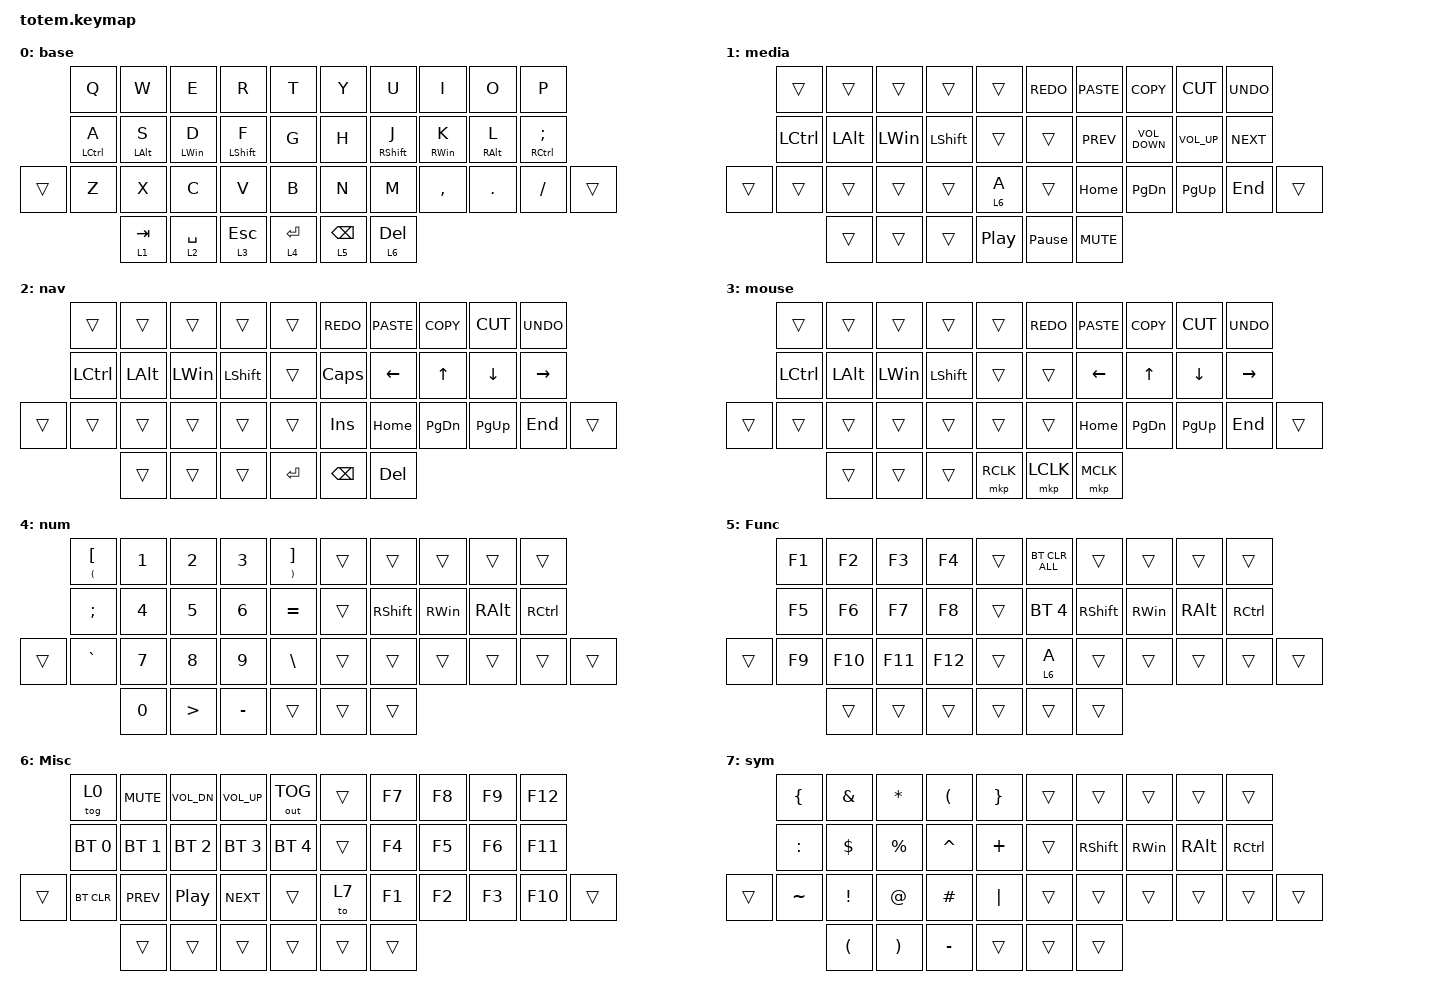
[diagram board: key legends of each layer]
//
//                                                        ▀▀▀▀▀     ▀▀▀▀▀          ▀▀█▀▀
//                                                        ▄▀▀▀▄  ▄  ▄▀▀▀▄  ▄  ▄▀▀▀▄  █  ▄▀▀▀▄
//                                                        █   █  █  █   █  █  █   █  █  █   █
//                                                         ▀▀▀   █   ▀▀▀   █   ▀▀▀   ▀   ▀▀▀
//                                                               █      ▄▄▄█▄▄▄    █   █  
//                                                               ▀      █  █  █     █▄█
//                                                             ▀▀▀▀▀    █  █  █      ▀
//                                                                      ▀  ▀  ▀
//
// ▄▄▄▄▄▄▄▄▄▄▄▄▄▄▄▄▄▄▄▄▄▄▄▄▄▄▄▄▄▄▄▄▄▄▄▄▄▄▄▄▄▄▄▄▄▄▄▄▄▄▄▄▄▄▄▄▄▄▄▄▄▄▄▄▄▄▄▄▄▄▄▄▄▄▄▄▄▄▄▄▄▄▄▄▄▄▄▄▄▄▄▄▄▄▄▄▄▄▄▄▄▄▄▄▄▄▄▄▄▄▄▄▄▄▄▄▄▄▄▄▄▄▄▄▄▄▄▄▄▄▄▄▄▄▄▄▄▄▄▄▄▄▄▄▄▄▄▄▄

/*
 * Copyright (c) 2020 The ZMK Contributors
 *
 * SPDX-License-Identifier: MIT
 */

#include <dt-bindings/zmk/mouse.h>
#include <behaviors.dtsi>
#include <dt-bindings/zmk/bt.h>
#include <dt-bindings/zmk/keys.h>
#include <dt-bindings/zmk/outputs.h>
#include <dt-bindings/zmk/pointing.h>

#define DEFAULT 0
#define QWERTY 1
#define NUM 2
#define NAV 3
#define FUN 4

/ {
    conditional_layers {
        compatible = "zmk,conditional-layers";

        tri_layer {
            if-layers = <6 6>;
            then-layer = <6>;
        };
    };

    behaviors {
        bspc_del: backspace_delete {
            compatible = "zmk,behavior-mod-morph";
            #binding-cells = <0>;
            bindings = <&kp BACKSPACE>, <&kp DELETE>;

            mods = <(MOD_LSFT|MOD_RSFT)>;
            keep-mods = <(MOD_RSFT)>;
        };

        super_bspc: super_backspace {
            compatible = "zmk,behavior-mod-morph";
            #binding-cells = <0>;
            bindings = <&kp BACKSPACE>, <&kp LA(BACKSPACE)>;

            mods = <(MOD_LSFT|MOD_RSFT)>;
        };

        smart_shft: smart_shift {
            compatible = "zmk,behavior-mod-morph";
            #binding-cells = <0>;
            bindings = <&kp LSHFT>, <&caps_word>;

            mods = <(MOD_LSFT)>;
        };

        comma_semi: comma_semi {
            compatible = "zmk,behavior-mod-morph";
            #binding-cells = <0>;
            bindings = <&kp COMMA>, <&kp SEMI>;

            mods = <(MOD_LSFT)>;
        };

        dot_colon: dot_colon {
            compatible = "zmk,behavior-mod-morph";
            #binding-cells = <0>;
            bindings = <&kp DOT>, <&kp COLON>;

            mods = <(MOD_LSFT)>;
        };

        qmrk_excl: qmrk_excl {
            compatible = "zmk,behavior-mod-morph";
            #binding-cells = <0>;
            bindings = <&kp QMARK>, <&kp EXCL>;

            mods = <(MOD_LSFT)>;
        };

        slh_morph: slh_morph {
            compatible = "zmk,behavior-mod-morph";
            #binding-cells = <0>;
            bindings = <&kp FSLH>, <&kp BSLH>;

            mods = <(MOD_LSFT)>;
        };

        amps_morph: amps_morph {
            compatible = "zmk,behavior-mod-morph";
            #binding-cells = <0>;
            bindings = <&kp AMPS>, <&kp PIPE>;

            mods = <(MOD_LSFT)>;
        };

        lhmr: lhmr {
            compatible = "zmk,behavior-hold-tap";
            label = "LHMR";
            bindings = <&kp>, <&kp>;

            #binding-cells = <2>;
            flavor = "balanced";
            tapping-term-ms = <280>;
            quick-tap-ms = <175>;
            require-prior-idle-ms = <150>;
            hold-trigger-key-positions = <5 6 6 7 8 16 17 18 26 27 28 5 6 7 8 9 15 16 17 18 19 25 26 27 28 29>;
            hold-trigger-on-release;
        };

        rhmr: rhmr {
            compatible = "zmk,behavior-hold-tap";
            label = "RHMR";
            bindings = <&kp>, <&kp>;

            #binding-cells = <2>;
            tapping-term-ms = <280>;
            quick-tap-ms = <175>;
            require-prior-idle-ms = <150>;
            flavor = "balanced";
            hold-trigger-key-positions = <4 0 1 2 3 4 10 11 12 13 14 20 21 22 23 24>;
            hold-trigger-on-release;
        };
    };

    macros {
        closetab: closetab {
            compatible = "zmk,behavior-macro";
            #binding-cells = <0>;
            bindings = <&kp LEFT_ALT &kp F4>;
            label = "CLOSETAB";
        };
    };

    keymap {
        compatible = "zmk,keymap";

        base {
            bindings = <
                &kp Q                 &kp W             &kp E             &kp R          &kp T         &kp Y        &kp U                &kp I              &kp O              &kp P
                &lhmr LEFT_CONTROL A  &lhmr LEFT_ALT S  &lhmr LEFT_WIN D  &lhmr LSHFT F  &kp G         &kp H        &rhmr RIGHT_SHIFT J  &rhmr RIGHT_WIN K  &rhmr RIGHT_ALT L  &rhmr RCTRL SEMICOLON
&trans          &kp Z                 &kp X             &kp C             &kp V          &kp B         &kp N        &kp M                &kp COMMA          &kp DOT            &kp FSLH        &trans
                                        &lt 1 TAB         &lt 2 SPACE    &lt 3 ESCAPE  &lt 4 ENTER  &lt 5 BACKSPACE      &lt 6 DELETE
            >;
        };

        media {
            bindings = <
                &trans     &trans        &trans        &trans          &trans   &kp K_REDO        &kp K_PASTE      &kp K_COPY         &kp K_CUT        &kp K_UNDO
                &kp LCTRL  &kp LEFT_ALT  &kp LEFT_WIN  &kp LEFT_SHIFT  &trans   &trans            &kp K_PREV       &kp K_VOLUME_DOWN  &kp K_VOLUME_UP  &kp K_NEXT
 &trans         &trans     &trans        &trans        &trans          &lt 6 A  &trans            &kp HOME         &kp PAGE_DOWN      &kp PAGE_UP      &kp END        &trans
                         &trans        &trans          &trans   &kp C_PLAY_PAUSE  &kp PAUSE_BREAK  &kp K_MUTE
            >;
        };

        nav {
            bindings = <
                &trans     &trans        &trans        &trans          &trans  &kp K_REDO    &kp K_PASTE    &kp K_COPY     &kp K_CUT    &kp K_UNDO
                &kp LCTRL  &kp LEFT_ALT  &kp LEFT_WIN  &kp LEFT_SHIFT  &trans  &kp CAPSLOCK  &kp LEFT       &kp UP         &kp DOWN     &kp RIGHT
&trans          &trans     &trans        &trans        &trans          &trans  &kp INSERT    &kp HOME       &kp PAGE_DOWN  &kp PAGE_UP  &kp END      &trans
                         &trans        &trans          &trans  &kp ENTER     &kp BACKSPACE  &kp DELETE
            >;
        };

        mouse {
            bindings = <
                &trans     &trans        &trans        &trans          &trans  &kp K_REDO  &kp K_PASTE  &kp K_COPY     &kp K_CUT    &kp K_UNDO
                &kp LCTRL  &kp LEFT_ALT  &kp LEFT_WIN  &kp LEFT_SHIFT  &trans  &trans      &kp LEFT     &kp UP         &kp DOWN     &kp RIGHT
&trans          &trans     &trans        &trans        &trans          &trans  &trans      &kp HOME     &kp PAGE_DOWN  &kp PAGE_UP  &kp END        &trans
                         &trans        &trans          &trans  &mkp RCLK   &mkp LCLK    &mkp MCLK
            >;
        };

        num {
            bindings = <
                &mt LEFT_PARENTHESIS LEFT_BRACKET  &kp NUMBER_1  &kp NUMBER_2  &kp NUMBER_3      &mt RIGHT_PARENTHESIS RIGHT_BRACKET  &trans  &trans           &trans         &trans         &trans
                &kp SEMICOLON                      &kp NUMBER_4  &kp NUMBER_5  &kp NUMBER_6      &kp EQUAL                            &trans  &kp RIGHT_SHIFT  &kp RIGHT_WIN  &kp RIGHT_ALT  &kp RCTRL
&trans          &kp GRAVE                          &kp NUMBER_7  &kp NUMBER_8  &kp NUMBER_9      &kp BACKSLASH                        &trans  &trans           &trans         &trans         &trans          &trans
                                                 &kp N0        &kp GREATER_THAN  &kp MINUS                            &trans  &trans           &trans
            >;
        };

        Func {
            bindings = <
            &kp F1  &kp F2   &kp F3   &kp F4   &trans  &bt BT_CLR_ALL  &trans           &trans         &trans         &trans
            &kp F5  &kp F6   &kp F7   &kp F8   &trans  &bt BT_SEL 4    &kp RIGHT_SHIFT  &kp RIGHT_WIN  &kp RIGHT_ALT  &kp RCTRL
&trans      &kp F9  &kp F10  &kp F11  &kp F12  &trans  &lt 6 A         &trans           &trans         &trans         &trans        &trans
                 &trans   &trans   &trans  &trans          &trans           &trans
            >;
        };

        Misc {
            bindings = <
            &tog 0        &kp K_MUTE    &kp C_VOL_DN  &kp C_VOL_UP  &out OUT_TOG  &trans  &kp F7  &kp F8  &kp F9  &kp F12
            &bt BT_SEL 0  &bt BT_SEL 1  &bt BT_SEL 2  &bt BT_SEL 3  &bt BT_SEL 4  &trans  &kp F4  &kp F5  &kp F6  &kp F11
&trans        &bt BT_CLR    &kp C_PREV    &kp C_PP      &kp C_NEXT    &trans        &to 7   &kp F1  &kp F2  &kp F3  &kp F10        &trans
                            &trans        &trans        &trans        &trans  &trans  &trans
            >;
        };

        sym {
            bindings = <
            &kp LEFT_BRACE  &kp AMPERSAND    &kp ASTERISK          &kp LEFT_PARENTHESIS   &kp RIGHT_BRACE  &trans  &trans           &trans         &trans         &trans
            &kp COLON       &kp DOLLAR       &kp PERCENT           &kp CARET              &kp PLUS         &trans  &kp RIGHT_SHIFT  &kp RIGHT_WIN  &kp RIGHT_ALT  &kp RCTRL
&trans      &kp TILDE       &kp EXCLAMATION  &kp AT_SIGN           &kp HASH               &kp PIPE         &trans  &trans           &trans         &trans         &trans        &trans
                                 &kp LEFT_PARENTHESIS  &kp RIGHT_PARENTHESIS  &kp MINUS        &trans  &trans           &trans
            >;
        };
    };
};
